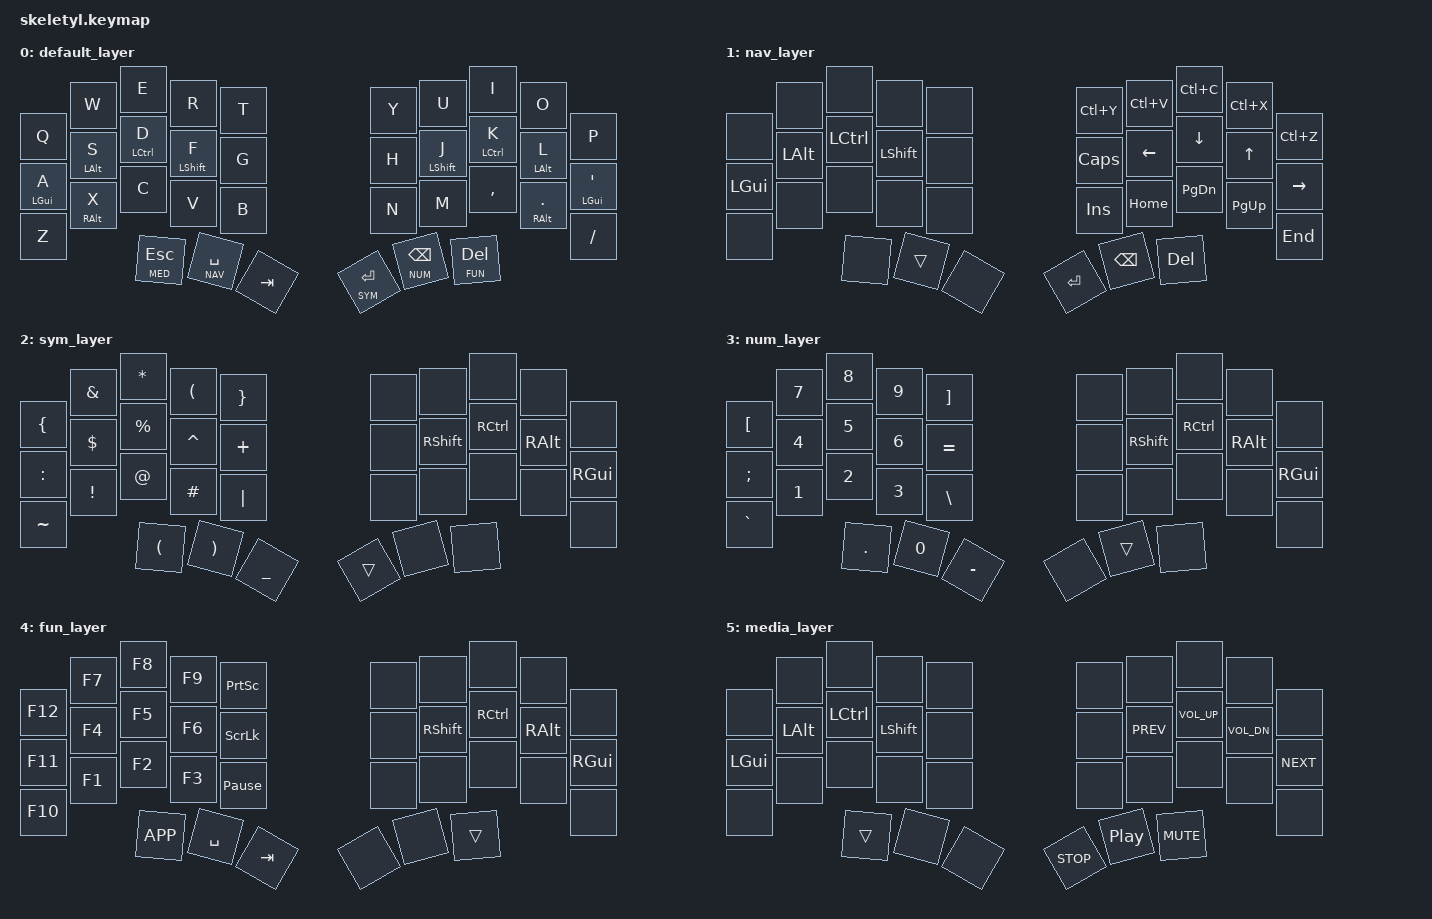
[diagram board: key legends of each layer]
#include <behaviors.dtsi>
#include <dt-bindings/zmk/keys.h>

// The default keymap is roughly on Miryoku layout
// (https://github.com/manna-harbour/miryoku).
// Customize on your own on the config folder.

#define BASE    0
#define NAV     1
#define SYM     2
#define NUM     3
#define FUN     4
#define MED     5

/ {
    trackball_listener {
        compatible = "zmk,input-listener";
        device = <&trackball_split>;
    };
    
    behaviors {
        hm: homerow_mods {
            compatible = "zmk,behavior-hold-tap";
            label = "HOMEROW_MODS";
            #binding-cells = <2>;
            tapping-term-ms = <150>;
            quick-tap-ms = <0>;
            flavor = "hold-preferred";
            bindings = <&kp>, <&kp>;
        };
    };

    keymap {
        compatible = "zmk,keymap";

        default_layer {
            bindings = <
    &kp Q       &kp W       &kp E       &kp R       &kp T                                   &kp Y           &kp U       &kp I       &kp O           &kp P
    &hm LGUI A  &hm LALT S  &hm LCTRL D &hm LSHFT F &kp G                                   &kp H           &hm LSHFT J &hm LCTRL K &hm LALT L      &hm LGUI SQT
    &kp Z       &hm RALT X  &kp C       &kp V       &kp B                                   &kp N           &kp M       &kp COMMA   &hm RALT DOT    &kp FSLH
                                        &lt MED ESC &lt NAV SPACE   &kp TAB     &lt SYM RET &lt NUM BSPC    &lt FUN DEL
            >;
        };

        nav_layer {
            bindings = <
    &none       &none       &none       &none       &none                           &kp LC(Y)   &kp LC(V)   &kp LC(C)   &kp LC(X)   &kp LC(Z)
    &kp LGUI    &kp LALT    &kp LCTRL   &kp LSHFT   &none                           &kp CAPS    &kp LEFT    &kp DOWN    &kp UP      &kp RIGHT
    &none       &none       &none       &none       &none                           &kp INS     &kp HOME    &kp PG_DN   &kp PG_UP   &kp END
                                        &none       &trans  &none       &kp RET     &kp BSPC    &kp DEL     
            >;
        };

        sym_layer {
            bindings = <
    &kp LBRC    &kp AMPS    &kp STAR    &kp LPAR   &kp RBRC                     &none       &none       &none       &none       &none
    &kp COLON   &kp DLLR    &kp PRCNT   &kp CARET  &kp PLUS                     &none       &kp RSHFT   &kp RCTRL   &kp RALT    &kp RGUI
    &kp TILDE   &kp EXCL    &kp AT      &kp HASH   &kp PIPE                     &none       &none       &none       &none       &none
                                        &kp LPAR   &kp RPAR &kp UNDER   &trans  &none       &none
            >;
        };

        num_layer {
            bindings = <
    &kp LBKT    &kp N7  &kp N8  &kp N9  &kp RBKT                        &none   &none       &none       &none       &none
    &kp SEMI    &kp N4  &kp N5  &kp N6  &kp EQUAL                       &none   &kp RSHFT   &kp RCTRL   &kp RALT    &kp RGUI
    &kp GRAVE   &kp N1  &kp N2  &kp N3  &kp BSLH                        &none   &none       &none       &none       &none
                                &kp DOT &kp N0      &kp MINUS   &none   &trans  &none
            >;
        };

        fun_layer {
            bindings = <
    &kp F12 &kp F7  &kp F8  &kp F9      &kp PSCRN                           &none   &none       &none       &none       &none
    &kp F11 &kp F4  &kp F5  &kp F6      &kp SLCK                            &none   &kp RSHFT   &kp RCTRL   &kp RALT    &kp RGUI
    &kp F10 &kp F1  &kp F2  &kp F3      &kp PAUSE_BREAK                     &none   &none       &none       &none       &none
                            &kp K_APP   &kp SPACE       &kp TAB     &none   &none   &trans
            >;
        };

        media_layer {
            bindings = <
    &none       &none       &none       &none       &none                           &none       &none       &none           &none           &none
    &kp LGUI    &kp LALT    &kp LCTRL   &kp LSHFT   &none                           &none       &kp C_PREV  &kp C_VOL_UP    &kp C_VOL_DN    &kp C_NEXT
    &none       &none       &none       &none       &none                           &none       &none       &none           &none           &none
                                        &trans      &none   &none       &kp C_STOP  &kp C_PP    &kp C_MUTE     
            >;
        };
    };
};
